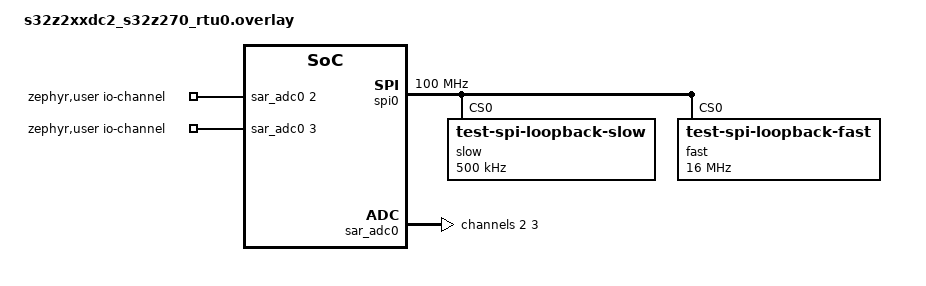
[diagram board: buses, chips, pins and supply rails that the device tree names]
/*
 * Copyright 2024 NXP
 *
 * SPDX-License-Identifier: Apache-2.0
 */

&edma0 {
	status = "okay";
};

tst_dma0: &edma0 {};

#include <zephyr/dt-bindings/memory-attr/memory-attr-arm.h>

/ {
	soc {
		sram_nocache: memory@31870000 {
			compatible = "zephyr,memory-region", "mmio-sram";
			reg = <0x31870000 DT_SIZE_K(64)>;
			zephyr,memory-region = "SRAMNOCACHE";
			zephyr,memory-attr = <DT_MEM_ARM(ATTR_MPU_RAM_NOCACHE)>;
		};
	};
};

&dram0 {
	compatible = "mmio-sram";
	reg = <0x31780000 DT_SIZE_K(960)>;
};

&pinctrl {
	spi0_default: spi0_default {
		group1 {
			pinmux = <PA8_DSPI_0_SOUT>, <PA6_DSPI_0_SCK_O>, <PA2_DSPI_0_PCS0_O>;
			output-enable;
		};
		group2 {
			pinmux = <PA7_DSPI_0_SIN>;
			input-enable;
		};
	};
};

&spi0 {
	pinctrl-0 = <&spi0_default>;
	pinctrl-names = "default";
	clock-frequency = <100000000>;
	status = "okay";
	slow@0 {
		compatible = "test-spi-loopback-slow";
		reg = <0>;
		spi-max-frequency = <500000>;
	};
	fast@0 {
		compatible = "test-spi-loopback-fast";
		reg = <0>;
		spi-max-frequency = <16000000>;
	};
};

#include <zephyr/dt-bindings/adc/adc.h>

/ {
	zephyr,user {
		io-channels = <&sar_adc0 2>, <&sar_adc0 3>;
	};
};

&sar_adc0 {
	group-channel = "precision";
	status = "okay";
	#address-cells = <1>;
	#size-cells = <0>;
	channel@2 {
		reg = <2>;
		zephyr,gain = "ADC_GAIN_1";
		zephyr,reference = "ADC_REF_INTERNAL";
		zephyr,acquisition-time = <ADC_ACQ_TIME_DEFAULT>;
		zephyr,resolution = <12>;
	};
	channel@3 {
		reg = <3>;
		zephyr,gain = "ADC_GAIN_1";
		zephyr,reference = "ADC_REF_INTERNAL";
		zephyr,acquisition-time = <ADC_ACQ_TIME_DEFAULT>;
		zephyr,resolution = <12>;
	};
};
